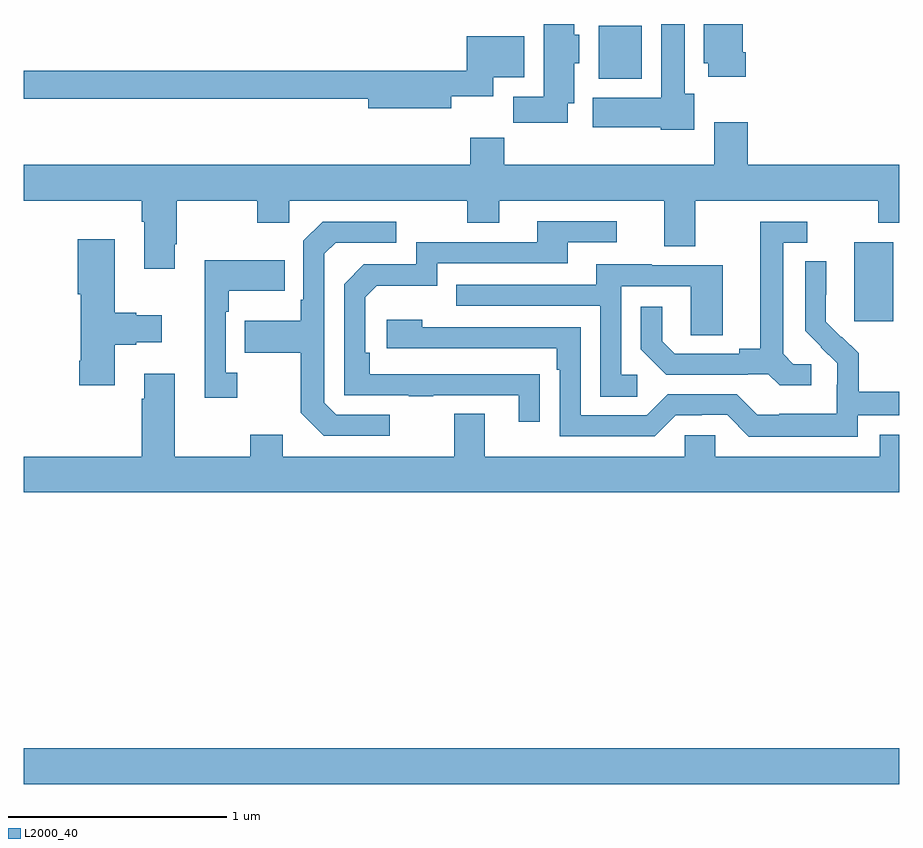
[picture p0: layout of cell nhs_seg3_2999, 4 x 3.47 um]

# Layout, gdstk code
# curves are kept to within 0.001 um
import gdstk
lib = gdstk.Library(unit=1e-6, precision=1e-09)
def R(c, l, rs):  # rectangles x0, y0, x1, y1
    for r in rs: c.add(gdstk.rectangle(r[:2], r[2:], *l))
def P(c, l, *ps):  # polygons
    for p in ps: c.add(gdstk.Polygon(p, *l))
L2000_40 = (2000, 40)

nhs_seg3_2999 = lib.new_cell('nhs_seg3_2999')
R(nhs_seg3_2999, L2000_40, [(267,688.928,271,689.092), (270.794,691.041,270.973,691.402), (269.627,692.15,269.824,692.392)])
P(nhs_seg3_2999, L2000_40, [(269.485,692.039),(269.515,692.039),(269.515,692.22),(269.539,692.22),(269.539,692.352),(269.515,692.352),(269.515,692.4),(269.375,692.4),(269.375,692.068),(269.236,692.068),(269.236,691.95),(269.485,691.95)],
  [(270.299,692.272),(270.286,692.272),(270.286,692.4),(270.107,692.4),(270.107,692.22),(270.128,692.22),(270.128,692.16),(270.299,692.16)],
  [(270.064,692.082),(270.019,692.082),(270.019,692.4),(269.912,692.4),(269.912,692.062),(269.6,692.062),(269.6,691.928),(269.91,691.928),(269.91,691.916),(270.064,691.916)],
  [(268.954,692.069),(269.146,692.069),(269.146,692.156),(269.287,692.156),(269.287,692.344),(269.024,692.344),(269.024,692.186),(267,692.186),(267,692.058),(268.574,692.058),(268.574,692.015),(268.954,692.015)],
  [(267.691,691.393),(267.699,691.393),(267.699,691.592),(268.066,691.592),(268.066,691.493),(268.212,691.493),(268.212,691.592),(269.026,691.592),(269.026,691.493),(269.173,691.493),(269.173,691.592),(269.927,691.592),(269.927,691.384),(270.067,691.384),(270.067,691.592),(270.904,691.592),(270.904,691.493),(271,691.493),(271,691.756),(270.308,691.756),(270.308,691.951),(270.155,691.951),(270.155,691.756),(269.195,691.756),(269.195,691.88),(269.039,691.88),(269.039,691.756),(267,691.756),(267,691.592),(267.539,691.592),(267.539,691.496),(267.551,691.496),(267.551,691.281),(267.691,691.281)],
  [(269.357,690.8),(268.58,690.801),(268.58,690.898),(268.56,690.898),(268.56,691.152),(268.613,691.205),(268.89,691.205),(268.89,691.308),(269.485,691.308),(269.485,691.404),(269.71,691.404),(269.71,691.5),(269.345,691.5),(269.345,691.404),(268.794,691.404),(268.794,691.302),(268.554,691.302),(268.464,691.212),(268.464,690.705),(268.759,690.705),(268.759,690.7),(268.871,690.7),(268.871,690.705),(269.261,690.705),(269.261,690.582),(269.357,690.582)],
  [(268.672,690.615),(268.428,690.615),(268.374,690.669),(268.374,691.35),(268.425,691.401),(268.702,691.401),(268.702,691.497),(268.365,691.497),(268.278,691.41),(268.278,691.141),(268.266,691.141),(268.266,691.045),(268.009,691.045),(268.009,690.898),(268.266,690.898),(268.266,690.625),(268.371,690.519),(268.672,690.519)],
  [(270.598,690.846),(270.516,690.846),(270.469,690.893),(270.469,691.401),(270.58,691.401),(270.58,691.497),(270.365,691.497),(270.365,690.917),(270.269,690.917),(270.269,690.894),(269.974,690.894),(269.917,690.951),(269.917,691.108),(269.82,691.108),(269.82,690.914),(269.936,690.798),(270.308,690.798),(270.308,690.801),(270.402,690.801),(270.454,690.749),(270.598,690.749)],
  [(267.415,690.935),(267.515,690.935),(267.515,690.947),(267.631,690.947),(267.631,691.069),(267.515,691.069),(267.515,691.082),(267.415,691.082),(267.415,691.417),(267.248,691.417),(267.248,691.165),(267.26,691.165),(267.26,690.862),(267.253,690.862),(267.253,690.75),(267.415,690.75)],
  [(267.976,690.806),(267.924,690.806),(267.924,691.085),(267.937,691.085),(267.937,691.181),(268.193,691.181),(268.193,691.321),(267.827,691.321),(267.827,690.693),(267.976,690.693)],
  [(270.81,690.612),(271,690.612),(271,690.721),(270.815,690.721),(270.815,690.895),(270.738,690.972),(270.735,690.969),(270.665,691.04),(270.666,691.316),(270.57,691.316),(270.57,690.998),(270.716,690.85),(270.716,690.753),(270.714,690.753),(270.714,690.619),(270.451,690.619),(270.451,690.615),(270.351,690.615),(270.258,690.708),(269.943,690.708),(269.847,690.612),(269.544,690.612),(269.544,691.014),(268.82,691.014),(268.82,691.048),(268.659,691.048),(268.659,690.918),(269.435,690.918),(269.435,690.821),(269.448,690.821),(269.448,690.516),(269.883,690.516),(269.979,690.612),(270.098,690.612),(270.098,690.615),(270.213,690.615),(270.313,690.515),(270.81,690.515)],
  [(269.803,690.798),(269.73,690.798),(269.73,691.203),(270.048,691.203),(270.048,690.979),(270.193,690.979),(270.193,691.299),(269.869,691.299),(269.869,691.303),(269.615,691.303),(269.615,691.209),(268.975,691.209),(268.975,691.113),(269.634,691.113),(269.634,690.697),(269.803,690.697)],
  [(271,690.523),(270.911,690.523),(270.911,690.424),(270.159,690.424),(270.159,690.522),(270.021,690.522),(270.021,690.424),(269.107,690.424),(269.107,690.619),(268.967,690.619),(268.967,690.424),(268.183,690.424),(268.183,690.523),(268.036,690.523),(268.036,690.424),(267.691,690.424),(267.691,690.802),(267.551,690.802),(267.551,690.689),(267.539,690.689),(267.539,690.424),(267,690.424),(267,690.26),(271,690.26)])

lib.write_gds('nhs_seg3_2999.gds')
